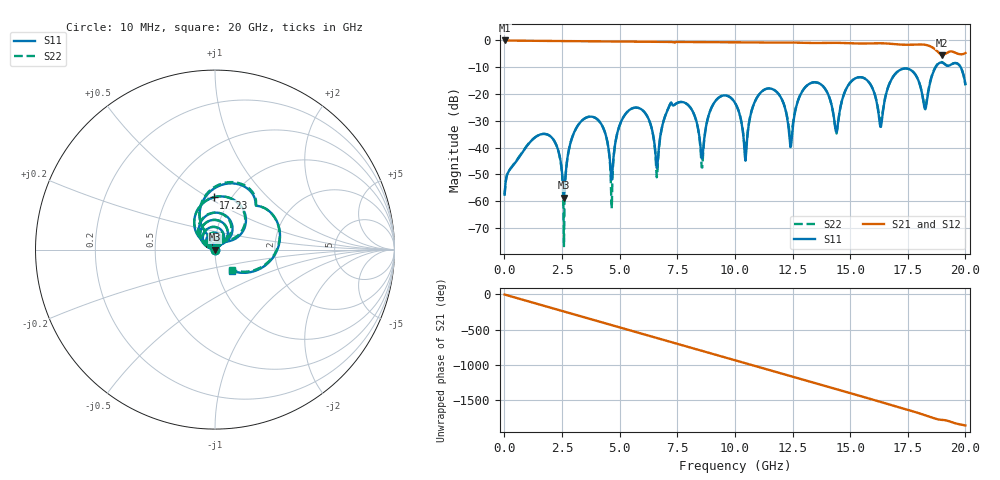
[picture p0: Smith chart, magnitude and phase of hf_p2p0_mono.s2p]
! Stitch-density study - 40 x 12 mm symmetric stripline, cut at x=20 mm
! Case: hf_p2p0_mono
! Sweep: 10 MHz - 20 GHz, 25 MHz step, 4 cores
# GHz S MA R 50.000000
! Terminal data exported
! Port[1] = U1.PAD1.SIG
! Port[2] = U2.PAD1.SIG
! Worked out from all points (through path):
!   801 points, 10 MHz to 20 GHz, reference 50 ohm
!   highest |S21| = -0.01 dB at 10 MHz (marker M1); lowest = -5.5 dB at 18.98 GHz (marker M2)
!   group delay of S21, straight-line fit = 260 ps
!   lowest |S11| = -58.7 dB at 2.585 GHz (marker M3), VSWR 1.00, Z = 50.1 - j0.103 ohm
!   |S11| at or under -10 dB: start of sweep to 18.71 GHz; 19.8 GHz to end of sweep
!   |S22| runs from -76.8 to -8.1 dB; largest |S21 - S12| = 1.7e-12
!   S11 on the Smith chart (normalised r, x): 10 MHz: 1.00, +0.00; 17.23 GHz: 0.83, +0.53; 20 GHz: 1.17, -0.29
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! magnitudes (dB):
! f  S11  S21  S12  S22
! 10 MHz  -57.6  0.0  0.0  -57.6
! 1.71 GHz  -34.9  -0.2  -0.2  -34.9
! 2.585 GHz  -58.7  -0.2  -0.2  -76.8
! 3.36 GHz  -30.0  -0.3  -0.3  -30.0
! 4.635 GHz  -51.4  -0.4  -0.4  -58.1
! 5.56 GHz  -25.3  -0.4  -0.4  -25.3
! 6.685 GHz  -41.8  -0.5  -0.5  -42.3
! 7.21 GHz  -23.4  -0.6  -0.6  -23.6
! 8.56 GHz  -44.1  -0.6  -0.6  -47.4
! 10.01 GHz  -23.4  -0.7  -0.7  -23.4
! 10.46 GHz  -44.9  -0.7  -0.7  -41.3
! 11.69 GHz  -18.4  -0.8  -0.8  -18.4
! 12.41 GHz  -39.8  -0.8  -0.8  -36.3
! 13.36 GHz  -15.7  -1.0  -1.0  -15.7
! 14.41 GHz  -34.2  -0.9  -0.9  -34.7
! 15.13 GHz  -14.6  -1.1  -1.1  -14.6
! 16.31 GHz  -32.2  -1.1  -1.1  -30.2
! 16.68 GHz  -16.6  -1.2  -1.2  -16.5
! 17.23 GHz  -10.7  -1.6  -1.6  -10.7
! 18.26 GHz  -25.7  -1.6  -1.6  -24.8
! 18.98 GHz  -8.3  -5.5  -5.5  -8.1
! 20 GHz  -16.3  -4.7  -4.7  -16.7
